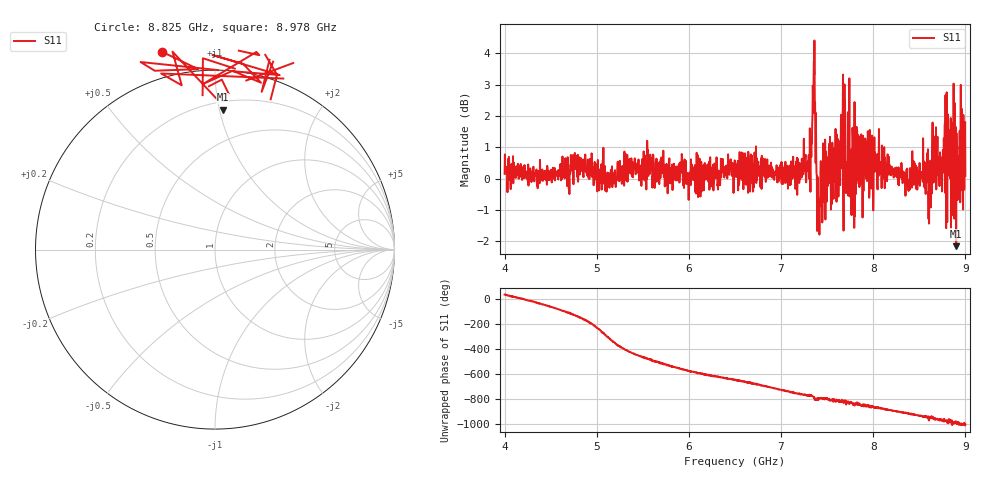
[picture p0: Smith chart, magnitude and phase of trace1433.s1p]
! Created with skrf 1.8.0 (http://scikit-rf.org).
# Hz S RI R 50.0
!freq ReS11 ImS11
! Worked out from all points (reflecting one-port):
!   1601 points, 4 GHz to 9 GHz, reference 50 ohm
!   lowest |S11| = -2.2 dB at 8.9 GHz (marker M1), VSWR 8.11, Z = 12.8 + j51.1 ohm
!   phase of S11 starts at 37 deg and turns -1045 deg over the sweep
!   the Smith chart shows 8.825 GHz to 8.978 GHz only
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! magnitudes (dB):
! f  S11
! 4 GHz  0.2
! 4.625 GHz  0.3
! 5.25 GHz  0.6
! 5.572 GHz  0.3
! 5.875 GHz  -0.1
! 6.5 GHz  0.1
! 7.125 GHz  0.1
! 7.294 GHz  0.5
! 7.356 GHz  3.8
! 7.397 GHz  -1.2
! 7.412 GHz  -0.7
! 7.509 GHz  0.3
! 7.562 GHz  0.3
! 7.669 GHz  2.1
! 7.7 GHz  -0.3
! 7.75 GHz  -0.6
! 7.769 GHz  -0.1
! 7.822 GHz  0.1
! 7.928 GHz  1.2
! 8.375 GHz  -0.2
! 8.612 GHz  -0.4
! 8.656 GHz  1.4
! 8.728 GHz  0.3
! 8.8 GHz  0.1
! 8.856 GHz  0.2
! 8.9 GHz  -2.2
! 8.972 GHz  0.3
! 9 GHz  0.1
